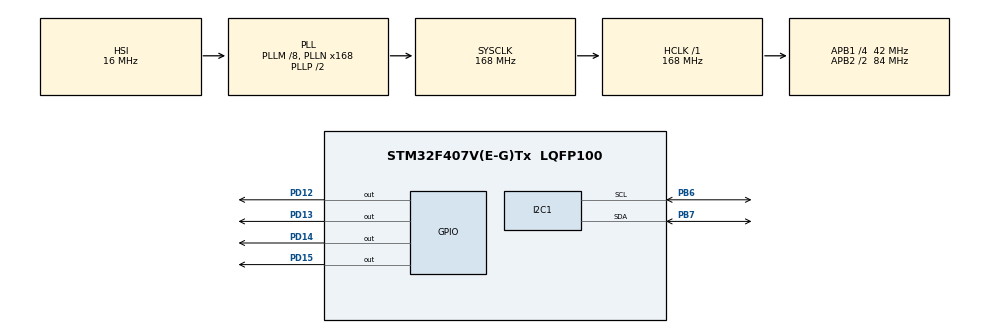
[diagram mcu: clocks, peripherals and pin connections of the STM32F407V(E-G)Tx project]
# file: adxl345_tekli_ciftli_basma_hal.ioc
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I2C1.I2C_Mode=I2C_Fast
Mcu.Family=STM32F4
Mcu.Name=STM32F407V(E-G)Tx
Mcu.Package=LQFP100
NVIC.PriorityGroup=NVIC_PRIORITYGROUP_0
PB6.Mode=I2C
PB6.Signal=I2C1_SCL
PB7.Mode=I2C
PB7.Signal=I2C1_SDA
PD12.Signal=GPIO_Output
PD13.Signal=GPIO_Output
PD14.Signal=GPIO_Output
PD15.Signal=GPIO_Output
ProjectManager.HeapSize=0x200
ProjectManager.StackSize=0x400
ProjectManager.TargetToolchain=STM32CubeIDE
RCC.48MHZClocksFreq_Value=48000000
RCC.AHBFreq_Value=168000000
RCC.APB1CLKDivider=RCC_HCLK_DIV4
RCC.APB1Freq_Value=42000000
RCC.APB1TimFreq_Value=84000000
RCC.APB2CLKDivider=RCC_HCLK_DIV2
RCC.APB2Freq_Value=84000000
RCC.APB2TimFreq_Value=168000000
RCC.CortexFreq_Value=168000000
RCC.HCLKFreq_Value=168000000
RCC.HSE_VALUE=8000000
RCC.HSI_VALUE=16000000
RCC.LSE_VALUE=32768
RCC.PLLM=8
RCC.PLLN=168
RCC.PLLQ=7
RCC.SYSCLKFreq_VALUE=168000000
RCC.SYSCLKSource=RCC_SYSCLKSOURCE_PLLCLK
RCC.VCOOutputFreq_Value=336000000
board=STM32F407G-DISC1

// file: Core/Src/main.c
/* USER CODE BEGIN Header */
/**
  ******************************************************************************
  * @file           : main.c
  * @brief          : Main program body
  ******************************************************************************
  * @attention
  *
  * Copyright (c) 2022 STMicroelectronics.
  * All rights reserved.
  *
  * This software is licensed under terms that can be found in the LICENSE file
  * in the root directory of this software component.
  * If no LICENSE file comes with this software, it is provided AS-IS.
  *
  ******************************************************************************
  */
/* USER CODE END Header */
#include "main.h"

/* USER CODE BEGIN PD */
#define ADXL345_DeviceAddress 0xA6
/* USER CODE END PD */

I2C_HandleTypeDef hi2c1;

/* USER CODE BEGIN PV */

uint8_t status;
uint8_t data_rec;

/* USER CODE END PV */

void SystemClock_Config(void);
static void MX_GPIO_Init(void);
static void MX_I2C1_Init(void);
/* USER CODE BEGIN PFP */

void ADXL345_Init();
void ADXL345_Write(uint8_t reg, uint8_t value);
uint8_t ADXL345_Read(uint8_t reg, uint8_t byte);

/* USER CODE END PFP */

int main(void)
{

  /* MCU Configuration--------------------------------------------------------*/

  /* Reset of all peripherals, Initializes the Flash interface and the Systick. */
  HAL_Init();

  /* Configure the system clock */
  SystemClock_Config();

  /* Initialize all configured peripherals */
  MX_GPIO_Init();
  MX_I2C1_Init();

  /* Infinite loop */
  while (1)
  {

    /* USER CODE BEGIN 3 */

	  status = ADXL345_Read(0x30, 1);

	  if((status >> 5) & 0x01){
		  // Double tap
		  HAL_GPIO_TogglePin(GPIOD, GPIO_PIN_13 | GPIO_PIN_15);
	  }

	  else if((status >> 6) && 0x01){
		  //single tap
		  HAL_GPIO_TogglePin(GPIOD, GPIO_PIN_12 | GPIO_PIN_14);
	  }

  }
  /* USER CODE END 3 */
}

void SystemClock_Config(void)
{
  RCC_OscInitTypeDef RCC_OscInitStruct = {0};
  RCC_ClkInitTypeDef RCC_ClkInitStruct = {0};

  /** Configure the main internal regulator output voltage
  */
  __HAL_RCC_PWR_CLK_ENABLE();
  __HAL_PWR_VOLTAGESCALING_CONFIG(PWR_REGULATOR_VOLTAGE_SCALE1);
  /** Initializes the RCC Oscillators according to the specified parameters
  * in the RCC_OscInitTypeDef structure.
  */
  RCC_OscInitStruct.OscillatorType = RCC_OSCILLATORTYPE_HSI;
  RCC_OscInitStruct.HSIState = RCC_HSI_ON;
  RCC_OscInitStruct.HSICalibrationValue = RCC_HSICALIBRATION_DEFAULT;
  RCC_OscInitStruct.PLL.PLLState = RCC_PLL_ON;
  RCC_OscInitStruct.PLL.PLLSource = RCC_PLLSOURCE_HSI;
  RCC_OscInitStruct.PLL.PLLM = 8;
  RCC_OscInitStruct.PLL.PLLN = 168;
  RCC_OscInitStruct.PLL.PLLP = RCC_PLLP_DIV2;
  RCC_OscInitStruct.PLL.PLLQ = 7;
  if (HAL_RCC_OscConfig(&RCC_OscInitStruct) != HAL_OK)
  {
    Error_Handler();
  }
  /** Initializes the CPU, AHB and APB buses clocks
  */
  RCC_ClkInitStruct.ClockType = RCC_CLOCKTYPE_HCLK|RCC_CLOCKTYPE_SYSCLK
                              |RCC_CLOCKTYPE_PCLK1|RCC_CLOCKTYPE_PCLK2;
  RCC_ClkInitStruct.SYSCLKSource = RCC_SYSCLKSOURCE_PLLCLK;
  RCC_ClkInitStruct.AHBCLKDivider = RCC_SYSCLK_DIV1;
  RCC_ClkInitStruct.APB1CLKDivider = RCC_HCLK_DIV4;
  RCC_ClkInitStruct.APB2CLKDivider = RCC_HCLK_DIV2;

  if (HAL_RCC_ClockConfig(&RCC_ClkInitStruct, FLASH_LATENCY_5) != HAL_OK)
  {
    Error_Handler();
  }
}

static void MX_I2C1_Init(void)
{

  hi2c1.Instance = I2C1;
  hi2c1.Init.ClockSpeed = 400000;
  hi2c1.Init.DutyCycle = I2C_DUTYCYCLE_2;
  hi2c1.Init.OwnAddress1 = 0;
  hi2c1.Init.AddressingMode = I2C_ADDRESSINGMODE_7BIT;
  hi2c1.Init.DualAddressMode = I2C_DUALADDRESS_DISABLE;
  hi2c1.Init.OwnAddress2 = 0;
  hi2c1.Init.GeneralCallMode = I2C_GENERALCALL_DISABLE;
  hi2c1.Init.NoStretchMode = I2C_NOSTRETCH_DISABLE;
  if (HAL_I2C_Init(&hi2c1) != HAL_OK)
  {
    Error_Handler();
  }

}

static void MX_GPIO_Init(void)
{
  GPIO_InitTypeDef GPIO_InitStruct = {0};

  /* GPIO Ports Clock Enable */
  __HAL_RCC_GPIOD_CLK_ENABLE();
  __HAL_RCC_GPIOB_CLK_ENABLE();

  /*Configure GPIO pin Output Level */
  HAL_GPIO_WritePin(GPIOD, GPIO_PIN_12|GPIO_PIN_13|GPIO_PIN_14|GPIO_PIN_15, GPIO_PIN_RESET);

  /*Configure GPIO pins : PD12 PD13 PD14 PD15 */
  GPIO_InitStruct.Pin = GPIO_PIN_12|GPIO_PIN_13|GPIO_PIN_14|GPIO_PIN_15;
  GPIO_InitStruct.Mode = GPIO_MODE_OUTPUT_PP;
  GPIO_InitStruct.Pull = GPIO_NOPULL;
  GPIO_InitStruct.Speed = GPIO_SPEED_FREQ_LOW;
  HAL_GPIO_Init(GPIOD, &GPIO_InitStruct);

}

/* USER CODE BEGIN 4 */

void ADXL345_Init(){

	ADXL345_Write(0x2D, 0); // Power_Ctrl bitlerini resetler

	ADXL345_Write(0x2D, 0x08); //Sensörün ölçüm bitini set, wake up bitini reset ve frekansını 8Mhz'e ayarlayarak ölçüm yapmaya hazır hale getiriyorum

	ADXL345_Write(0x2A, 0x01); // Z eksenini basma algılama için etkinleştiriyorum

	ADXL345_Write(0x1D, 40); // Tek basma eşiğini ayarlıyorum. Gireceğiniz değer ile 62.5mg/LSB çarpılarak g değeri hesaplanır. Örneğin 40*0.0625 = 2.5g

	ADXL345_Write(0x21, 32); // Tek basma süresini ayarlıyorum. Gireceğiniz değer ile 625uS/LSB çarpılarak eşik süresi ayarlanır. Örneğin 32*0.000625 = 0.02s
	// bu değer gelen bir etkileşimin dokunma etkileşimi olması için geçmesi gereken maksimum süreyi belirler. DUR register'a yazılır.

	ADXL345_Write(0x22, 80); // Dokunma gecikmesini ayarlıyorum. 0.1sn'ye ayarlıyorum. Girilen değeri, 1.25ms/LSB ile çarparak gecikme süresi elde edilir. 80*0.00125

	ADXL345_Write(0x23, 240); // Dokunma penceresi, WINDIW register'a 240 yazarak 0.3sn'ye ayarlıyorum. (.3 / .00125) Bu değer ikinci bir basmanın olabileceği, gecikme
	// süresinin sona ermesinden sonra geçen süreyi temsil eder.

	ADXL345_Write(0x2F, 0x00); // INT1 pinini INT_MAP Register'a 0 yazarak etkinleştiriyorum

	ADXL345_Write(0x2E, 0X60); // Double Tap
}
void ADXL345_Write(uint8_t reg, uint8_t value){

	uint8_t data[2];
	data[0] = reg;
	data[1] = value;

	HAL_I2C_Master_Transmit(&hi2c1, ADXL345_DeviceAddress, data, 2, 100);
}
uint8_t ADXL345_Read(uint8_t reg, uint8_t byte){

	HAL_I2C_Mem_Read(&hi2c1, ADXL345_DeviceAddress, reg, 1, &data_rec, byte, 100);

	return data_rec;
}

/* USER CODE END 4 */

void Error_Handler(void)
{
  __disable_irq();
  while (1)
  {
  }
}
